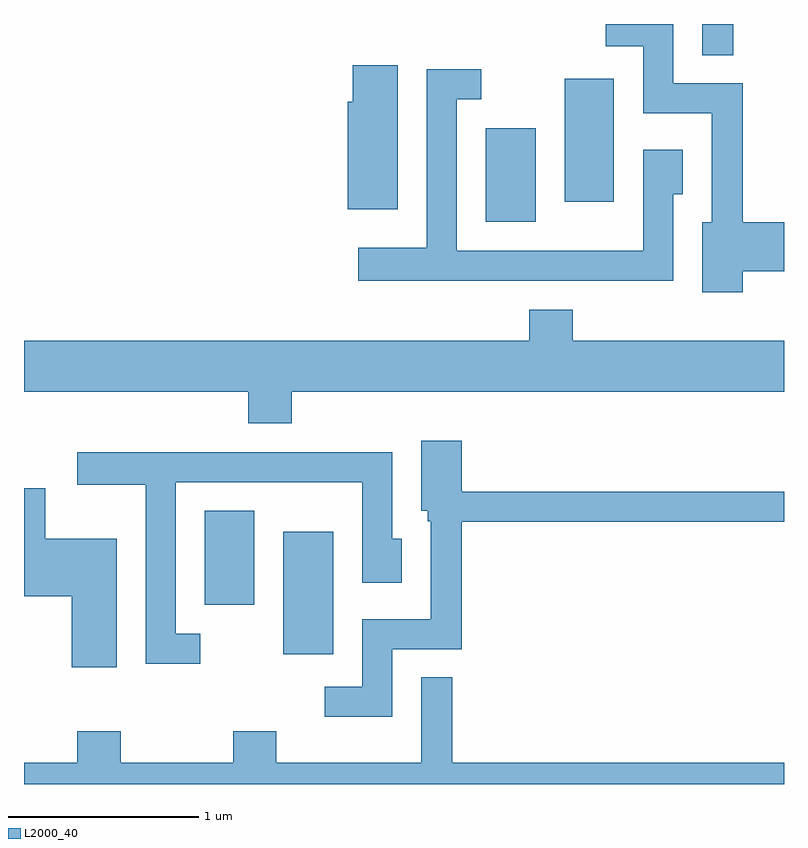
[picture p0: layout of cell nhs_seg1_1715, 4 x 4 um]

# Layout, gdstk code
import gdstk
lib = gdstk.Library(unit=1e-6, precision=1e-09)
def R(c, l, rs):  # rectangles x0, y0, x1, y1
    for r in rs: c.add(gdstk.rectangle(r[:2], r[2:], *l))
def P(c, l, *ps):  # polygons
    for p in ps: c.add(gdstk.Polygon(p, *l))
L2000_40 = (2000, 40)

nhs_seg1_1715 = lib.new_cell('nhs_seg1_1715')
R(nhs_seg1_1715, L2000_40, [(238.976,920.396,239.239,921.039), (238.561,920.656,238.824,921.149), (240.041,922.671,240.304,923.164), (240.456,922.776,240.714,923.424), (241.181,923.548,241.344,923.712)])
P(nhs_seg1_1715, L2000_40, [(241.394,922.411),(241.611,922.411),(241.611,922.669),(241.394,922.669),(241.394,923.399),(241.029,923.399),(241.029,923.712),(240.673,923.712),(240.673,923.596),(240.871,923.596),(240.871,923.241),(241.231,923.241),(241.231,922.669),(241.181,922.669),(241.181,922.301),(241.394,922.301)],
  [(239.579,923.494),(239.341,923.494),(239.341,923.304),(239.316,923.304),(239.316,922.736),(239.579,922.736)],
  [(241.029,922.816),(241.079,922.816),(241.079,923.049),(240.871,923.049),(240.871,922.519),(239.889,922.519),(239.889,923.316),(240.018,923.316),(240.018,923.474),(239.731,923.474),(239.731,922.534),(239.371,922.534),(239.371,922.361),(241.029,922.361)],
  [(239.019,921.776),(241.611,921.776),(241.611,922.044),(240.499,922.044),(240.499,922.209),(240.271,922.209),(240.271,922.044),(237.611,922.044),(237.611,921.776),(238.791,921.776),(238.791,921.611),(239.019,921.611)],
  [(239.549,920.421),(239.914,920.421),(239.914,921.091),(241.611,921.091),(241.611,921.249),(239.914,921.249),(239.914,921.519),(239.701,921.519),(239.701,921.151),(239.736,921.151),(239.736,921.095),(239.751,921.095),(239.751,920.579),(239.391,920.579),(239.391,920.224),(239.193,920.224),(239.193,920.066),(239.549,920.066)],
  [(238.538,920.504),(238.409,920.504),(238.409,921.301),(239.391,921.301),(239.391,920.771),(239.599,920.771),(239.599,921.004),(239.549,921.004),(239.549,921.459),(237.891,921.459),(237.891,921.286),(238.251,921.286),(238.251,920.346),(238.538,920.346)],
  [(238.099,921.004),(237.724,921.004),(237.724,921.269),(237.611,921.269),(237.611,920.701),(237.861,920.701),(237.861,920.326),(238.099,920.326)],
  [(241.611,919.824),(239.864,919.824),(239.864,920.273),(239.701,920.273),(239.701,919.824),(238.939,919.824),(238.939,919.989),(238.711,919.989),(238.711,919.824),(238.119,919.824),(238.119,919.989),(237.891,919.989),(237.891,919.824),(237.611,919.824),(237.611,919.712),(241.611,919.712)])

lib.write_gds('nhs_seg1_1715.gds')
